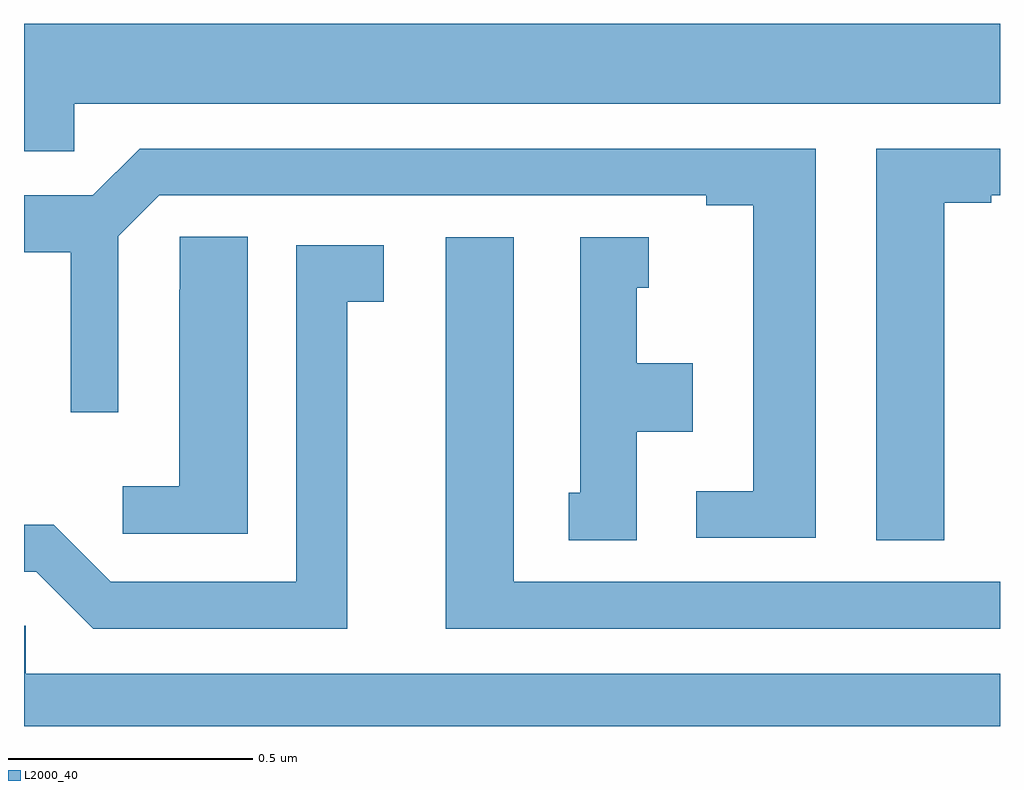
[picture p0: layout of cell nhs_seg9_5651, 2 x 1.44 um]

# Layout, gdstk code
import gdstk
lib = gdstk.Library(unit=1e-6, precision=1e-09)
def P(c, l, *ps):  # polygons
    for p in ps: c.add(gdstk.Polygon(p, *l))
L2000_40 = (2000, 40)

nhs_seg9_5651 = lib.new_cell('nhs_seg9_5651')
P(nhs_seg9_5651, L2000_40, [(182.103,1173.776),(184,1173.776),(184,1173.94),(182,1173.94),(182,1173.678),(182.103,1173.678)],
  [(183.886,1173.573),(183.982,1173.573),(183.982,1173.588),(184,1173.588),(184,1173.684),(183.746,1173.684),(183.746,1172.881),(183.886,1172.881)],
  [(183.622,1173.684),(182.237,1173.684),(182.141,1173.588),(182,1173.588),(182,1173.472),(182.096,1173.472),(182.096,1173.144),(182.193,1173.144),(182.193,1173.504),(182.277,1173.588),(183.398,1173.588),(183.398,1173.568),(183.494,1173.568),(183.494,1172.982),(183.378,1172.982),(183.378,1172.886),(183.622,1172.886)],
  [(182.458,1173.503),(182.319,1173.503),(182.319,1173.395),(182.318,1173.395),(182.318,1172.992),(182.202,1172.992),(182.202,1172.895),(182.458,1172.895)],
  [(183.256,1173.104),(183.37,1173.104),(183.37,1173.244),(183.256,1173.244),(183.256,1173.399),(183.28,1173.399),(183.28,1173.502),(183.14,1173.502),(183.14,1172.979),(183.116,1172.979),(183.116,1172.881),(183.256,1172.881)],
  [(184,1172.796),(183.004,1172.796),(183.004,1173.502),(182.864,1173.502),(182.864,1172.7),(184,1172.7)],
  [(182.662,1173.37),(182.737,1173.37),(182.737,1173.486),(182.558,1173.486),(182.558,1172.796),(182.178,1172.796),(182.061,1172.913),(182,1172.913),(182,1172.817),(182.025,1172.817),(182.142,1172.7),(182.662,1172.7)],
  [(184,1172.608),(182.004,1172.608),(182.004,1172.706),(182,1172.706),(182,1172.5),(184,1172.5)])

lib.write_gds('nhs_seg9_5651.gds')
